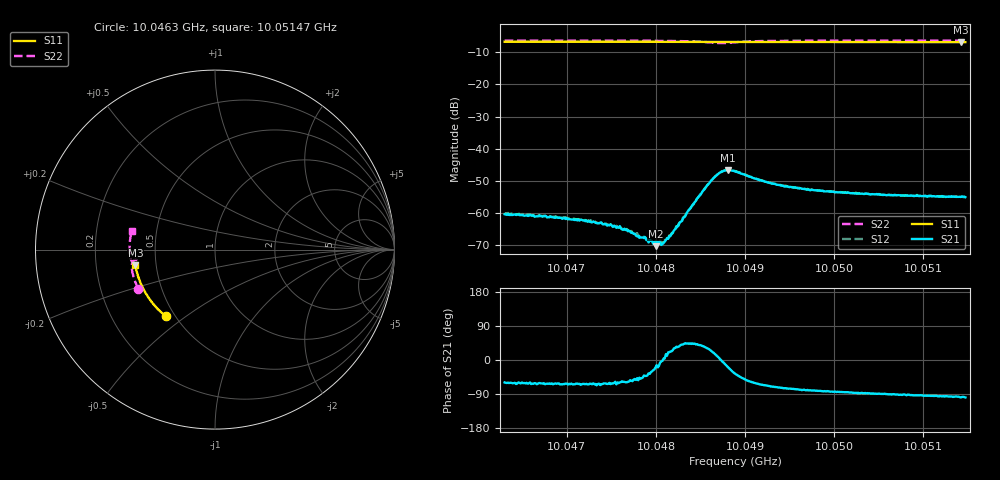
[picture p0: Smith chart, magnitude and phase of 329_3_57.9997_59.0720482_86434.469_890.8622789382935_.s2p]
#  HZ  S  RI  R  50.00
! Rohde & Schwarz Vector Network Analyzer
! Rohde-Schwarz,ZNB20-2Port,1311601062101988,3.16
! Created: UTC 3/21/2024, 1:05:02 AM
! freq[Hz]  re:S11  im:S11  re:S21  im:S21  re:S12  im:S12  re:S22  im:S22
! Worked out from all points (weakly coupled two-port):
!   401 points, 10.0463 GHz to 10.05147 GHz, reference 50 ohm
!   highest |S21| = -46.60 dB at 10.04881 GHz (marker M1); lowest = -70.3 dB at 10.048 GHz (marker M2)
!   lowest |S11| = -6.9 dB at 10.05142 GHz (marker M3), VSWR 2.65, Z = 19 - j4.19 ohm
!   |S11| at or under -10 dB: nowhere
!   |S22| runs from -7.2 to -6.4 dB; largest |S21 - S12| = 0.00032
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1.0046303e10  -0.2751 -0.3704  0.000494 -0.000827  0.000542 -0.000798  -0.4279 -0.219
1.0046884e10  -0.3041 -0.3452  0.000391 -0.000758  0.000456 -0.000753  -0.4432 -0.1831
1.0047169e10  -0.3174 -0.3321  0.000346 -0.000708  0.000384 -0.000658  -0.4499 -0.1649
1.0047569e10  -0.3355 -0.3127  0.00031 -0.000522  0.000327 -0.000518  -0.4576 -0.138
1.0047698e10  -0.3411 -0.306  0.000289 -0.000446  0.000311 -0.000427  -0.4595 -0.1289
1.0047802e10  -0.3453 -0.301  0.000262 -0.000354  0.000305 -0.000335  -0.461 -0.1214
1.0047853e10  -0.3475 -0.2984  0.000292 -0.000301  0.000325 -0.00028  -0.4616 -0.1178
1.0047995e10  -0.3532 -0.2908  0.000289 -0.000104  0.000359 -0.000103  -0.4632 -0.1069
1.0048034e10  -0.3549 -0.2889  0.000323 -8.89e-05  0.00034 -2.81e-05  -0.4635 -0.1039
1.004806e10  -0.3558 -0.2876  0.00032 -2.18e-05  0.000355 -2.16e-05  -0.4636 -0.1018
1.0048086e10  -0.357 -0.2862  0.000342 2.32e-05  0.000348 7.56e-05  -0.4637 -0.0997
1.0048163e10  -0.3601 -0.2822  0.000408 0.000167  0.000414 0.000186  -0.464 -0.0935
1.004846e10  -0.3712 -0.2659  0.00125 0.00112  0.00118 0.00118  -0.4575 -0.0666
1.0048628e10  -0.3772 -0.2566  0.00305 0.00126  0.00297 0.00144  -0.4416 -0.0567
1.0048719e10  -0.38 -0.2519  0.00427 0.00018  0.00427 0.000463  -0.4321 -0.0628
1.0048809e10  -0.3834 -0.2469  0.00442 -0.00154  0.00452 -0.00129  -0.434 -0.0742
1.0048887e10  -0.3859 -0.2428  0.00359 -0.00261  0.00382 -0.0024  -0.4432 -0.0782
1.00493e10  -0.3994 -0.219  0.000975 -0.00272  0.00115 -0.00265  -0.4706 -0.0488
1.0049752e10  -0.4122 -0.1922  0.000377 -0.00228  0.000508 -0.00226  -0.4758 -0.0138
1.0050618e10  -0.4316 -0.1388  -1.29e-05 -0.00192  0.000113 -0.00191  -0.4741 0.0462
1.0051418e10  -0.4436 -0.0877  -0.000273 -0.00176  -0.000143 -0.00179  -0.4655 0.0993
1.005147e10  -0.4443 -0.0844  -0.000272 -0.00175  -0.000156 -0.0018  -0.4648 0.1024
